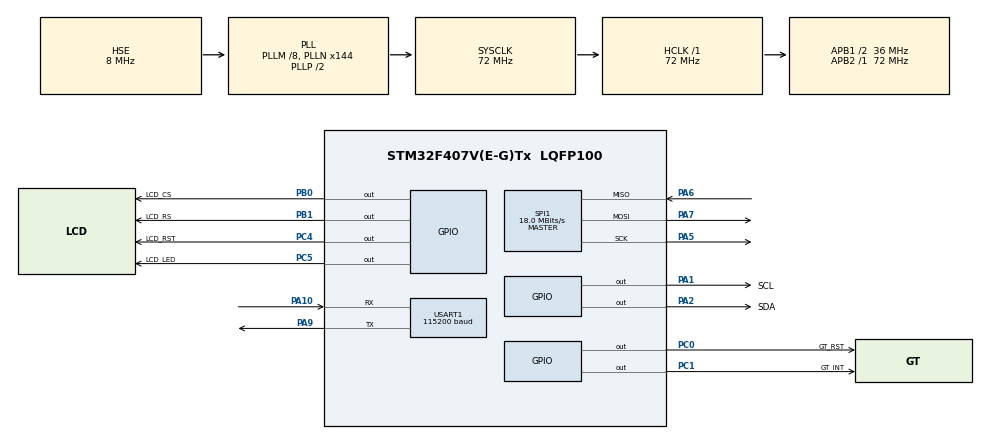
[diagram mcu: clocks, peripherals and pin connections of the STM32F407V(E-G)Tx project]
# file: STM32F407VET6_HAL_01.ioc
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Mcu.Family=STM32F4
Mcu.Name=STM32F407V(E-G)Tx
Mcu.Package=LQFP100
NVIC.PriorityGroup=NVIC_PRIORITYGROUP_4
PA1.GPIO_Label=SCL
PA1.GPIO_ModeDefaultOutputPP=GPIO_MODE_OUTPUT_OD
PA1.GPIO_PuPd=GPIO_PULLUP
PA1.GPIO_Speed=GPIO_SPEED_FREQ_HIGH
PA1.PinState=GPIO_PIN_SET
PA1.Signal=GPIO_Output
PA10.Mode=Asynchronous
PA10.Signal=USART1_RX
PA2.GPIO_Label=SDA
PA2.GPIO_ModeDefaultOutputPP=GPIO_MODE_OUTPUT_OD
PA2.GPIO_PuPd=GPIO_PULLUP
PA2.GPIO_Speed=GPIO_SPEED_FREQ_HIGH
PA2.PinState=GPIO_PIN_SET
PA2.Signal=GPIO_Output
PA5.Mode=Full_Duplex_Master
PA5.Signal=SPI1_SCK
PA6.Mode=Full_Duplex_Master
PA6.Signal=SPI1_MISO
PA7.Mode=Full_Duplex_Master
PA7.Signal=SPI1_MOSI
PA9.Mode=Asynchronous
PA9.Signal=USART1_TX
PB0.GPIO_Label=LCD_CS
PB0.GPIO_Speed=GPIO_SPEED_FREQ_HIGH
PB0.PinState=GPIO_PIN_SET
PB0.Signal=GPIO_Output
PB1.GPIO_Label=LCD_RS
PB1.GPIO_Speed=GPIO_SPEED_FREQ_HIGH
PB1.PinState=GPIO_PIN_SET
PB1.Signal=GPIO_Output
PC0.GPIO_Label=GT_RST
PC0.GPIO_Speed=GPIO_SPEED_FREQ_HIGH
PC0.PinState=GPIO_PIN_SET
PC0.Signal=GPIO_Output
PC1.GPIO_Label=GT_INT
PC1.GPIO_ModeDefaultOutputPP=GPIO_MODE_OUTPUT_PP
PC1.GPIO_PuPd=GPIO_NOPULL
PC1.GPIO_Speed=GPIO_SPEED_FREQ_HIGH
PC1.PinState=GPIO_PIN_SET
PC1.Signal=GPIO_Output
PC4.GPIO_Label=LCD_RST
PC4.GPIO_Speed=GPIO_SPEED_FREQ_HIGH
PC4.PinState=GPIO_PIN_SET
PC4.Signal=GPIO_Output
PC5.GPIO_Label=LCD_LED
PC5.GPIO_Speed=GPIO_SPEED_FREQ_HIGH
PC5.PinState=GPIO_PIN_SET
PC5.Signal=GPIO_Output
PH0-OSC_IN.Mode=HSE-External-Oscillator
PH0-OSC_IN.Signal=RCC_OSC_IN
PH1-OSC_OUT.Mode=HSE-External-Oscillator
PH1-OSC_OUT.Signal=RCC_OSC_OUT
ProjectManager.HeapSize=0x200
ProjectManager.StackSize=0x400
ProjectManager.TargetToolchain=MDK-ARM V5.32
RCC.48MHZClocksFreq_Value=36000000
RCC.AHBFreq_Value=72000000
RCC.APB1CLKDivider=RCC_HCLK_DIV2
RCC.APB1Freq_Value=36000000
RCC.APB1TimFreq_Value=72000000
RCC.APB2Freq_Value=72000000
RCC.APB2TimFreq_Value=72000000
RCC.CortexFreq_Value=72000000
RCC.HCLKFreq_Value=72000000
RCC.HSE_VALUE=8000000
RCC.HSI_VALUE=16000000
RCC.LSE_VALUE=32768
RCC.PLLM=8
RCC.PLLN=144
RCC.PLLSourceVirtual=RCC_PLLSOURCE_HSE
RCC.SYSCLKFreq_VALUE=72000000
RCC.SYSCLKSource=RCC_SYSCLKSOURCE_PLLCLK
RCC.VCOOutputFreq_Value=144000000
SPI1.BaudRatePrescaler=SPI_BAUDRATEPRESCALER_4
SPI1.CLKPhase=SPI_PHASE_2EDGE
SPI1.CLKPolarity=SPI_POLARITY_HIGH
SPI1.CalculateBaudRate=18.0 MBits/s
SPI1.Direction=SPI_DIRECTION_2LINES
SPI1.Mode=SPI_MODE_MASTER
SPI1.VirtualType=VM_MASTER
TIM6.Prescaler=72-1
USART1.BaudRate=115200
USART1.VirtualMode=VM_ASYNC
VP_TIM6_VS_ClockSourceINT.Mode=Enable_Timer
board=custom

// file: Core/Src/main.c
/* USER CODE BEGIN Header */
/**
  ******************************************************************************
  * @file           : main.c
  * @brief          : Main program body
  ******************************************************************************
  * @attention
  *
  * Copyright (c) 2025 STMicroelectronics.
  * All rights reserved.
  *
  * This software is licensed under terms that can be found in the LICENSE file
  * in the root directory of this software component.
  * If no LICENSE file comes with this software, it is provided AS-IS.
  *
  ******************************************************************************
  */
/* USER CODE END Header */
#include "main.h"
#include "spi.h"
#include "tim.h"
#include "usart.h"
#include "gpio.h"

/* USER CODE BEGIN Includes */
#include <stdio.h>

u8 AUTO=0;//如果不带触摸，想要一直刷屏，把这个参数设置为1
u8 Olddir;//用于记录屏幕原始的方向
u8  Contflag=0;//计数标志，用于测算刷图时间
u16 Counter=0; //用于计数，测算刷图时间

//外部flash地址定义
// 16*16汉字GBK 从0x00000000 -0x000BB080
// 24*24汉字GBK 从0x000BB080 -0x001A4D20
// 32*32汉字GBK 从0x0025FDA00-0x002EC200
// 128x128图片  从 0x0054BFA0           开始存放  每张图片大小 128*128*2字节  有5张图片
// 160x128图片  从 0x0054BFA0+0x00028000开始存放  每张图片大小 160*128*2字节  有5张图片   即偏移地址0x00028000
// 320x240图片  从 0x0054BFA0+0x0005A000开始存放  每张图片大小 320*240*2字节  有5张图片   即偏移地址0x0005A000
// 480x272图片  从 0x0054BFA0+0x00115800开始存放  每张图片大小 480*272*2字节  有5张图片   即偏移地址0x00115800
// 480x320图片  从 0x0054BFA0+0x00253C80开始存放  每张图片大小 480*320*2字节  有5张图片   即偏移地址0x00253C80

//图片存放地址
#define pic_ad  ADD_BASE+0x0054BFA0 //这个地址不需要改动
//根据lcd.h中配置的分辨率选择对应的图片起始地址
#if((LCD_WIDTH==128)&&(LCD_HEIGHT==128))
#define off_ad  0x0
#elif((LCD_WIDTH==128)&&(LCD_HEIGHT==160))
#define off_ad  0x00028000
#elif((LCD_WIDTH==240)&&(LCD_HEIGHT==320))
#define off_ad  0x0005A000
#elif((LCD_WIDTH==480)&&(LCD_HEIGHT==272))
#define off_ad  0x00115800
#elif((LCD_WIDTH==320)&&(LCD_HEIGHT==480))
#define off_ad  0x00253C80
#endif
//图片取模方式为横屏取模，如果要正常显示图片，需要切换成横屏显示!!!

//定义按键
#define KEYup   1
#define KEYdown 2

#define DelayTime 1000000
/* USER CODE END Includes */

void SystemClock_Config(void);
/* USER CODE BEGIN PFP */
void Simple_Touch_Test(void)
{
    static uint16_t last_x = 0, last_y = 0;
    static uint8_t first_run = 1;
    char info_buf[50];

    // 首次运行时初始化界面
    if (first_run)
    {
        LCD_Clear(WHITE);
        LCD_ShowString(10, 10, LCD_WIDTH-20, 30, 16, (uint8_t*)"Touch Screen Test", RED);
        LCD_ShowString(10, 40, LCD_WIDTH-20, 30, 16, (uint8_t*)"Touch to draw", BLUE);

        // 绘制分隔线
        LCD_DrawLine(0, 70, LCD_WIDTH, 70, GRAY);

        // 显示坐标区域标题
        LCD_ShowString(10, 80, 200, 20, 16, (uint8_t*)"Coordinates:", BLACK);

        first_run = 0;
    }

    // 扫描触摸屏
    tp_dev.scan(0);

    // 只在有触摸时执行操作
    if (tp_dev.sta & TP_PRES_DOWN)
    {
        // 显示坐标
        sprintf(info_buf, "X:%04d Y:%04d", tp_dev.x[0], tp_dev.y[0]);
        LCD_Fill(100, 80, LCD_WIDTH-10, 95, WHITE);
        LCD_ShowString(100, 80, 150, 20, 16, (uint8_t*)info_buf, BLUE);

        // 绘制连接线（从上一个点到当前点）
        if (last_x > 0 && last_y > 0)
        {
            LCD_DrawLine(last_x, last_y, tp_dev.x[0], tp_dev.y[0], RED);
        }

        // 绘制当前触摸点
        Draw_Circle(tp_dev.x[0], tp_dev.y[0], 3, RED);

        // 保存当前坐标
        last_x = tp_dev.x[0];
        last_y = tp_dev.y[0];

        // 添加小延时，防止过于频繁的刷新
        HAL_Delay(5);
    }
}
/* USER CODE END PFP */

int main(void)
{

  /* MCU Configuration--------------------------------------------------------*/

  /* Reset of all peripherals, Initializes the Flash interface and the Systick. */
  HAL_Init();

  /* Configure the system clock */
  SystemClock_Config();

  /* Initialize all configured peripherals */
  MX_GPIO_Init();
  MX_SPI1_Init();
  MX_USART1_UART_Init();
  MX_TIM6_Init();
  /* USER CODE BEGIN 2 */
  __HAL_SPI_ENABLE(&hspi1);

  printf("LCD_Init!\r\n");
  LCD_Init();
  // 打开背光
  LCD_LED_Set(GPIO_PIN_SET);

  // 初始化触摸屏
  if (TP_Init() == 0)
  {
    // 触摸屏初始化失败
    LCD_Clear(WHITE);
    LCD_ShowString(10, 10, 200, 30, 16, (uint8_t*)"Touch Init Failed!", RED);
    HAL_Delay(1000);
  }

  // 清屏并设置背景色
  LCD_Clear(WHITE);

  // 设置画笔颜色为红色
  POINT_COLOR = RED;

  // 显示欢迎信息
  LCD_ShowString(10, 10, 200, 30, 16, (uint8_t*)"LCD Test Demo", POINT_COLOR);
  LCD_ShowString(10, 40, 200, 30, 16, (uint8_t*)"Press RST for touch test", BLUE);

  // 显示更多测试内容
  LCD_ShowString(10, 70, 200, 30, 16, (uint8_t*)"Hello World!", POINT_COLOR);

  HAL_Delay(100);
  // 显示数字
  LCD_ShowNum(10, 100, 12345, 5, 16, POINT_COLOR);

  // 画一些图形
  LCD_DrawLine(10, 130, 100, 130, BLUE);      // 画线
  LCD_DrawRectangle(10, 150, 60, 190, GREEN); // 画矩形
  Draw_Circle(150, 170, 20, RED);
  LCD_Clear(WHITE);
  LCD_Fill(0,0,200,200,0xf700);
  /* USER CODE END 2 */

  /* Infinite loop */
  while (1)
  {

    /* USER CODE BEGIN 3 */
	  //Simple_Touch_Test();
  }
  /* USER CODE END 3 */
}

void SystemClock_Config(void)
{
  RCC_OscInitTypeDef RCC_OscInitStruct = {0};
  RCC_ClkInitTypeDef RCC_ClkInitStruct = {0};

  /** Configure the main internal regulator output voltage
  */
  __HAL_RCC_PWR_CLK_ENABLE();
  __HAL_PWR_VOLTAGESCALING_CONFIG(PWR_REGULATOR_VOLTAGE_SCALE1);
  /** Initializes the RCC Oscillators according to the specified parameters
  * in the RCC_OscInitTypeDef structure.
  */
  RCC_OscInitStruct.OscillatorType = RCC_OSCILLATORTYPE_HSE;
  RCC_OscInitStruct.HSEState = RCC_HSE_ON;
  RCC_OscInitStruct.PLL.PLLState = RCC_PLL_ON;
  RCC_OscInitStruct.PLL.PLLSource = RCC_PLLSOURCE_HSE;
  RCC_OscInitStruct.PLL.PLLM = 8;
  RCC_OscInitStruct.PLL.PLLN = 144;
  RCC_OscInitStruct.PLL.PLLP = RCC_PLLP_DIV2;
  RCC_OscInitStruct.PLL.PLLQ = 4;
  if (HAL_RCC_OscConfig(&RCC_OscInitStruct) != HAL_OK)
  {
    Error_Handler();
  }
  /** Initializes the CPU, AHB and APB buses clocks
  */
  RCC_ClkInitStruct.ClockType = RCC_CLOCKTYPE_HCLK|RCC_CLOCKTYPE_SYSCLK
                              |RCC_CLOCKTYPE_PCLK1|RCC_CLOCKTYPE_PCLK2;
  RCC_ClkInitStruct.SYSCLKSource = RCC_SYSCLKSOURCE_PLLCLK;
  RCC_ClkInitStruct.AHBCLKDivider = RCC_SYSCLK_DIV1;
  RCC_ClkInitStruct.APB1CLKDivider = RCC_HCLK_DIV2;
  RCC_ClkInitStruct.APB2CLKDivider = RCC_HCLK_DIV1;

  if (HAL_RCC_ClockConfig(&RCC_ClkInitStruct, FLASH_LATENCY_2) != HAL_OK)
  {
    Error_Handler();
  }
}

/* USER CODE BEGIN 4 */
int fputc(int ch, FILE *f) {
    HAL_UART_Transmit(&huart1, (uint8_t *)&ch, 1, HAL_MAX_DELAY);
    return ch;
}
/* USER CODE END 4 */

void Error_Handler(void)
{
  __disable_irq();
  while (1)
  {
  }
}
